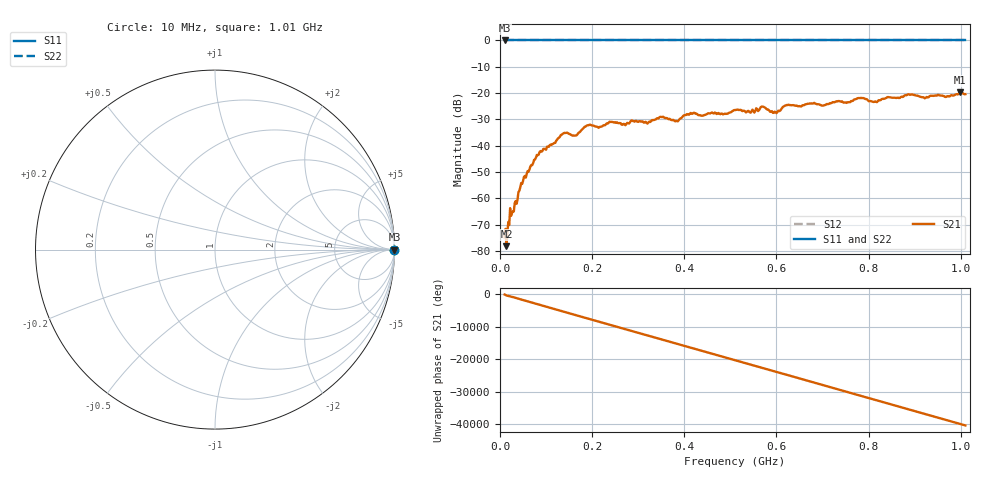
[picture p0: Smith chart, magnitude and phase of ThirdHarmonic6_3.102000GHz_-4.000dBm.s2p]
! 8/17/2025 9:09:11 AM
! C:\ANRITSUVNA\TEMP\TEMP.S2P
! CHANNEL.1
! TR.MEASUREMENT
! RAW.DATA
! RF.CORRECTION.OFF
! AVERAGING.OFF
! IF.BANDWIDTH: 5KHZ
! SWEEPTYPE:  FREQ.SWEEP(Linear)
! Reference Plane Port Info
! PORT:  PORT1  PORT2
! DISTANCE:  0  m  0  m
! TIME:  0  s  0  s
! PHASE.OFFSET:  0  deg.  0  deg.
! LOSS:  0  dB  0  dB
! REF.LOSS:  0  dB  0  dB
! REF.FREQ:  0  Hz  0  Hz
! Power Info
! POWER:  -20  dBm  -20  dBm
! EFF.POWER:  -20  dBm  -20  dBm
! SOURCE.ATTEN:  0  dB  0  dB
! TEST.ATTEN:  0  dB  0  dB
# GHZ S RI R 50.0
! FREQ.GHZ  S11RE  S11IM  S21RE  S21IM  S12RE  S12IM  S22RE  S22IM
!; PortSelection: Port_12
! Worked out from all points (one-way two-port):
!   501 points, 10 MHz to 1.01 GHz, reference 50 ohm
!   highest |S21| = -19.76 dB at 998 MHz (marker M1); lowest = -78.2 dB at 14 MHz (marker M2)
!   lowest |S11| = 0.0 dB at 10 MHz (marker M3)
!   |S11| at or under -10 dB: nowhere
!   |S22| runs from 0.0 to 0.0 dB; largest |S21 - S12| = 1.1
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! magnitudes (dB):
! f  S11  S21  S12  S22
! 10 MHz  0.0  -74.8  0.0  0.0
! 14 MHz  0.0  -78.2  0.0  0.0
! 22 MHz  0.0  -63.8  0.0  0.0
! 48 MHz  0.0  -54.6  0.0  0.0
! 84 MHz  0.0  -43.4  0.0  0.0
! 136 MHz  0.0  -35.5  0.0  0.0
! 162 MHz  0.0  -36.2  0.0  0.0
! 178 MHz  0.0  -33.9  0.0  0.0
! 192 MHz  0.0  -32.3  0.0  0.0
! 322 MHz  0.0  -31.2  0.0  0.0
! 344 MHz  0.0  -29.6  0.0  0.0
! 384 MHz  0.0  -30.6  0.0  0.0
! 418 MHz  0.0  -27.9  0.0  0.0
! 510 MHz  0.0  -26.5  0.0  0.0
! 548 MHz  0.0  -26.3  0.0  0.0
! 570 MHz  0.0  -25.1  0.0  0.0
! 596 MHz  0.0  -27.1  0.0  0.0
! 622 MHz  0.0  -24.5  0.0  0.0
! 678 MHz  0.0  -24.0  0.0  0.0
! 844 MHz  0.0  -21.6  0.0  0.0
! 998 MHz  0.0  -19.8  0.0  0.0
! 1.01 GHz  0.0  -20.4  0.0  0.0
